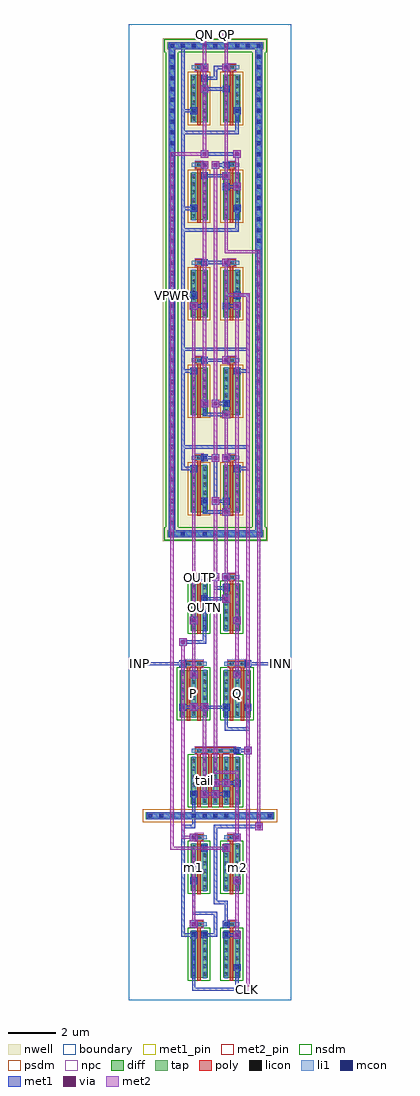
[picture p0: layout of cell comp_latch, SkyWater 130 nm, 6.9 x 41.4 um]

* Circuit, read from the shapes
.subckt comp_latch CLK INN INP OUTN OUTP P Q QN QP VGND VPWR m1 m2 tail
XM1 P INP tail VGND sky130_fd_pr__nfet_01v8 w=2 l=0.15 m=2
XM2 m1 QN VGND VGND sky130_fd_pr__nfet_01v8 w=2 l=0.15
XM3 QP OUTN m1 VGND sky130_fd_pr__nfet_01v8 w=2 l=0.15
XM4 tail CLK VGND VGND sky130_fd_pr__nfet_01v8 w=2 l=0.15 m=4
XM5 OUTN OUTP P VGND sky130_fd_pr__nfet_01v8 w=2 l=0.15
XM6 VGND QP m2 VGND sky130_fd_pr__nfet_01v8 w=2 l=0.15
XM7 m2 OUTP QN VGND sky130_fd_pr__nfet_01v8 w=2 l=0.15
XM8 Q INN tail VGND sky130_fd_pr__nfet_01v8 w=2 l=0.15 m=2
XM9 Q OUTN OUTP VGND sky130_fd_pr__nfet_01v8 w=2 l=0.15
XM10 OUTN OUTP VPWR VPWR sky130_fd_pr__pfet_01v8 w=2 l=0.15
XM11 OUTN CLK VPWR VPWR sky130_fd_pr__pfet_01v8 w=2 l=0.15
XM12 P CLK VPWR VPWR sky130_fd_pr__pfet_01v8 w=2 l=0.15
XM13 QP OUTN VPWR VPWR sky130_fd_pr__pfet_01v8 w=2 l=0.15
XM14 QP QN VPWR VPWR sky130_fd_pr__pfet_01v8 w=2 l=0.15
XM15 VPWR OUTN OUTP VPWR sky130_fd_pr__pfet_01v8 w=2 l=0.15
XM16 VPWR CLK OUTP VPWR sky130_fd_pr__pfet_01v8 w=2 l=0.15
XM17 VPWR CLK Q VPWR sky130_fd_pr__pfet_01v8 w=2 l=0.15
XM18 VPWR OUTP QN VPWR sky130_fd_pr__pfet_01v8 w=2 l=0.15
XM19 VPWR QP QN VPWR sky130_fd_pr__pfet_01v8 w=2 l=0.15
.ends

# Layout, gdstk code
import gdstk
lib = gdstk.Library(unit=1e-6, precision=1e-09)
def R(c, l, rs):  # rectangles x0, y0, x1, y1
    for r in rs: c.add(gdstk.rectangle(r[:2], r[2:], *l))
def A(c, l, x, y, w, h, nx, ny, dx, dy):  # array of equal rectangles
    R(c, l, [(x+i*dx, y+j*dy, x+i*dx+w, y+j*dy+h) for i in range(nx) for j in range(ny)])
nwell = (64, 20)
diff = (65, 20)
tap = (65, 44)
poly = (66, 20)
licon = (66, 44)
li1 = (67, 20)
mcon = (67, 44)
met1_pin = (68, 16)
met1 = (68, 20)
via = (68, 44)
met2_pin = (69, 16)
met2 = (69, 20)
nsdm = (93, 44)
psdm = (94, 20)
npc = (95, 20)
boundary = (235, 4)

comp_latch = lib.new_cell('comp_latch')
R(comp_latch, nwell, [(1.455,19.455,5.905,40.805)])
A(comp_latch, diff, 2.635, 20.68, 0.71, 2, 1, 5, 0, 4.14)
A(comp_latch, diff, 4.015, 20.68, 0.71, 2, 1, 5, 0, 4.14)
R(comp_latch, diff, [(2.635,0.945,3.345,2.945), (4.015,0.945,4.725,2.945), (2.635,4.625,3.345,6.625), (4.015,4.625,4.725,6.625), (2.635,8.305,4.725,10.305), (2.175,11.985,3.345,13.985), (4.015,11.985,5.185,13.985), (2.635,15.665,3.345,17.665), (4.015,15.665,4.725,17.665)])
R(comp_latch, tap, [(0.715,7.675,6.185,7.965), (1.635,19.635,5.725,19.925), (1.695,19.635,1.985,40.625), (5.375,19.635,5.665,40.625), (1.635,40.335,5.725,40.625)])
A(comp_latch, poly, 2.915, 8.175, 0.15, 2.405, 4, 1, 0.46, 0)
A(comp_latch, poly, 2.915, 20.55, 0.15, 2.45, 1, 5, 0, 4.14)
A(comp_latch, poly, 4.295, 20.55, 0.15, 2.45, 1, 5, 0, 4.14)
A(comp_latch, poly, 2.825, 22.865, 0.33, 0.27, 1, 5, 0, 4.14)
A(comp_latch, poly, 4.205, 22.865, 0.33, 0.27, 1, 5, 0, 4.14)
R(comp_latch, poly, [(2.915,0.815,3.065,3.22), (4.295,0.815,4.445,3.22), (2.825,3.085,3.155,3.355), (4.205,3.085,4.535,3.355), (2.915,4.495,3.065,6.9), (4.295,4.495,4.445,6.9), (2.825,6.765,3.155,7.035), (4.205,6.765,4.535,7.035), (2.825,10.445,4.535,10.715), (2.455,11.855,2.605,14.26), (2.915,11.855,3.065,14.26), (4.295,11.855,4.445,14.26), (4.755,11.855,4.905,14.26), (2.365,14.125,3.155,14.395), (4.205,14.125,4.995,14.395), (2.915,15.535,3.065,17.94), (4.295,15.535,4.445,17.94), (2.825,17.805,3.155,18.075), (4.205,17.805,4.535,18.075)])
A(comp_latch, licon, 2.675, 1.01, 0.17, 0.17, 1, 6, 0, 0.34)
A(comp_latch, licon, 3.135, 1.01, 0.17, 0.17, 1, 6, 0, 0.34)
A(comp_latch, licon, 4.055, 1.01, 0.17, 0.17, 1, 6, 0, 0.34)
A(comp_latch, licon, 4.515, 1.01, 0.17, 0.17, 1, 6, 0, 0.34)
A(comp_latch, licon, 2.675, 4.69, 0.17, 0.17, 1, 6, 0, 0.34)
A(comp_latch, licon, 3.135, 4.69, 0.17, 0.17, 1, 6, 0, 0.34)
A(comp_latch, licon, 4.055, 4.69, 0.17, 0.17, 1, 6, 0, 0.34)
A(comp_latch, licon, 4.515, 4.69, 0.17, 0.17, 1, 6, 0, 0.34)
A(comp_latch, licon, 0.835, 7.735, 0.17, 0.17, 12, 1, 0.46, 0)
A(comp_latch, licon, 2.675, 8.37, 0.17, 0.17, 5, 6, 0.46, 0.34)
A(comp_latch, licon, 2.905, 10.495, 0.17, 0.17, 4, 1, 0.46, 0)
A(comp_latch, licon, 2.215, 12.05, 0.17, 0.17, 3, 6, 0.46, 0.34)
A(comp_latch, licon, 4.055, 12.05, 0.17, 0.17, 3, 6, 0.46, 0.34)
A(comp_latch, licon, 2.675, 15.73, 0.17, 0.17, 1, 6, 0, 0.34)
A(comp_latch, licon, 3.135, 15.73, 0.17, 0.17, 1, 6, 0, 0.34)
A(comp_latch, licon, 4.055, 15.73, 0.17, 0.17, 1, 6, 0, 0.34)
A(comp_latch, licon, 4.515, 15.73, 0.17, 0.17, 1, 6, 0, 0.34)
A(comp_latch, licon, 1.755, 19.695, 0.17, 0.17, 9, 2, 0.46, 20.7)
A(comp_latch, licon, 1.755, 20.155, 0.17, 0.17, 1, 44, 0, 0.46)
A(comp_latch, licon, 5.435, 20.155, 0.17, 0.17, 1, 44, 0, 0.46)
A(comp_latch, licon, 2.675, 20.745, 0.17, 0.17, 1, 6, 0, 0.34)
A(comp_latch, licon, 3.135, 20.745, 0.17, 0.17, 1, 6, 0, 0.34)
A(comp_latch, licon, 4.055, 20.745, 0.17, 0.17, 1, 6, 0, 0.34)
A(comp_latch, licon, 4.515, 20.745, 0.17, 0.17, 1, 6, 0, 0.34)
A(comp_latch, licon, 2.905, 22.915, 0.17, 0.17, 1, 5, 0, 4.14)
A(comp_latch, licon, 4.285, 22.915, 0.17, 0.17, 1, 5, 0, 4.14)
A(comp_latch, licon, 2.675, 24.885, 0.17, 0.17, 1, 6, 0, 0.34)
A(comp_latch, licon, 3.135, 24.885, 0.17, 0.17, 1, 6, 0, 0.34)
A(comp_latch, licon, 4.055, 24.885, 0.17, 0.17, 1, 6, 0, 0.34)
A(comp_latch, licon, 4.515, 24.885, 0.17, 0.17, 1, 6, 0, 0.34)
A(comp_latch, licon, 2.675, 29.025, 0.17, 0.17, 1, 6, 0, 0.34)
A(comp_latch, licon, 3.135, 29.025, 0.17, 0.17, 1, 6, 0, 0.34)
A(comp_latch, licon, 4.055, 29.025, 0.17, 0.17, 1, 6, 0, 0.34)
A(comp_latch, licon, 4.515, 29.025, 0.17, 0.17, 1, 6, 0, 0.34)
A(comp_latch, licon, 2.675, 33.165, 0.17, 0.17, 1, 6, 0, 0.34)
A(comp_latch, licon, 3.135, 33.165, 0.17, 0.17, 1, 6, 0, 0.34)
A(comp_latch, licon, 4.055, 33.165, 0.17, 0.17, 1, 6, 0, 0.34)
A(comp_latch, licon, 4.515, 33.165, 0.17, 0.17, 1, 6, 0, 0.34)
A(comp_latch, licon, 2.675, 37.305, 0.17, 0.17, 1, 6, 0, 0.34)
A(comp_latch, licon, 3.135, 37.305, 0.17, 0.17, 1, 6, 0, 0.34)
A(comp_latch, licon, 4.055, 37.305, 0.17, 0.17, 1, 6, 0, 0.34)
A(comp_latch, licon, 4.515, 37.305, 0.17, 0.17, 1, 6, 0, 0.34)
R(comp_latch, licon, [(2.905,3.135,3.075,3.305), (4.285,3.135,4.455,3.305), (2.905,6.815,3.075,6.985), (4.285,6.815,4.455,6.985), (2.445,14.175,2.615,14.345), (2.905,14.175,3.075,14.345), (4.285,14.175,4.455,14.345), (4.745,14.175,4.915,14.345), (2.905,17.855,3.075,18.025), (4.285,17.855,4.455,18.025)])
A(comp_latch, li1, 2.675, 8.29, 0.17, 2.03, 5, 1, 0.46, 0)
A(comp_latch, li1, 2.215, 11.97, 0.17, 2.03, 3, 1, 0.46, 0)
A(comp_latch, li1, 4.055, 11.97, 0.17, 2.03, 3, 1, 0.46, 0)
A(comp_latch, li1, 2.675, 20.665, 0.17, 2.03, 1, 5, 0, 4.14)
A(comp_latch, li1, 3.135, 20.665, 0.17, 2.03, 1, 5, 0, 4.14)
A(comp_latch, li1, 4.055, 20.665, 0.17, 2.03, 1, 5, 0, 4.14)
A(comp_latch, li1, 4.515, 20.665, 0.17, 2.03, 1, 5, 0, 4.14)
A(comp_latch, li1, 2.675, 22.915, 0.63, 0.17, 1, 5, 0, 4.14)
A(comp_latch, li1, 4.055, 22.915, 0.63, 0.17, 1, 5, 0, 4.14)
R(comp_latch, li1, [(2.675,0.93,2.845,2.96), (3.135,0.93,3.305,2.96), (4.055,0.93,4.225,2.96), (4.515,0.93,4.685,2.96), (2.675,3.135,3.305,3.305), (4.055,3.135,4.685,3.305), (2.675,4.61,2.845,6.64), (3.135,4.61,3.305,6.64), (4.055,4.61,4.225,6.64), (4.515,4.61,4.685,6.64), (2.675,6.815,3.305,6.985), (4.055,6.815,4.685,6.985), (0.755,7.735,6.145,7.905), (2.675,10.495,4.685,10.665), (2.215,14.175,3.305,14.345), (4.055,14.175,5.145,14.345), (2.675,15.65,2.845,17.68), (3.135,15.65,3.305,17.68), (4.055,15.65,4.225,17.68), (4.515,15.65,4.685,17.68), (2.675,17.855,3.305,18.025), (4.055,17.855,4.685,18.025), (1.675,19.695,5.685,19.865), (1.755,19.695,1.925,40.565), (5.435,19.695,5.605,40.565), (1.675,40.395,5.685,40.565)])
A(comp_latch, mcon, 2.675, 3.135, 0.17, 0.17, 1, 4, 0, 1.84)
A(comp_latch, mcon, 0.835, 7.735, 0.17, 0.17, 12, 1, 0.46, 0)
A(comp_latch, mcon, 2.215, 12.335, 0.17, 0.17, 4, 1, 0.92, 0)
A(comp_latch, mcon, 1.755, 19.695, 0.17, 0.17, 9, 2, 0.46, 20.7)
A(comp_latch, mcon, 1.755, 20.155, 0.17, 0.17, 1, 44, 0, 0.46)
A(comp_latch, mcon, 5.435, 20.155, 0.17, 0.17, 1, 44, 0, 0.46)
R(comp_latch, mcon, [(4.515,1.295,4.685,1.465), (2.675,2.675,2.845,2.845), (3.135,2.675,3.305,2.845), (4.055,2.675,4.225,2.845), (4.055,3.135,4.225,3.305), (4.515,4.975,4.685,5.145), (3.135,6.355,3.305,6.525), (4.055,6.355,4.225,6.525), (4.515,6.815,4.685,6.985), (3.135,8.655,3.305,8.825), (4.055,8.655,4.225,8.825), (3.595,9.115,3.765,9.285), (4.515,9.115,4.685,9.285), (4.515,10.495,4.685,10.665), (2.675,13.715,2.845,13.885), (4.515,13.715,4.685,13.885), (2.215,14.175,2.385,14.345), (4.975,14.175,5.145,14.345), (2.675,16.015,2.845,16.185), (4.515,16.015,4.685,16.185), (3.135,16.935,3.305,17.105), (4.055,17.395,4.225,17.565), (3.135,17.855,3.305,18.025), (4.055,17.855,4.225,18.025), (3.135,21.075,3.305,21.245), (4.055,21.075,4.225,21.245), (2.675,22.455,2.845,22.625), (4.515,22.455,4.685,22.625), (3.135,22.915,3.305,23.085), (4.055,22.915,4.225,23.085), (3.135,25.215,3.305,25.385), (4.055,25.215,4.225,25.385), (2.675,26.595,2.845,26.765), (4.515,26.595,4.685,26.765), (3.135,27.055,3.305,27.225), (4.055,27.055,4.225,27.225), (3.135,29.355,3.305,29.525), (4.055,29.355,4.225,29.525), (2.675,29.815,2.845,29.985), (4.515,29.815,4.685,29.985), (3.135,31.195,3.305,31.365), (4.055,31.195,4.225,31.365), (2.675,33.495,2.845,33.665), (4.515,33.495,4.685,33.665), (4.055,34.415,4.225,34.585), (3.135,34.875,3.305,35.045), (3.135,35.335,3.305,35.505), (4.055,35.335,4.225,35.505), (2.675,37.635,2.845,37.805), (4.515,37.635,4.685,37.805), (4.055,38.555,4.225,38.725), (3.135,39.015,3.305,39.185), (3.135,39.475,3.305,39.645), (4.055,39.475,4.225,39.645)])
R(comp_latch, met1_pin, [(2.23,2.69,2.37,7.43), (1.77,29.83,1.91,29.97)])
A(comp_latch, met1, 2.23, 2.69, 0.6, 0.14, 3, 1, 0.92, 0)
A(comp_latch, met1, 2.615, 3.075, 0.29, 0.29, 1, 4, 0, 1.84)
A(comp_latch, met1, 2.155, 12.275, 0.29, 0.29, 4, 1, 0.92, 0)
A(comp_latch, met1, 3.15, 31.21, 1.06, 0.14, 1, 3, 0, 3.68)
R(comp_latch, met1, [(2.69,0.39,2.83,2.83), (2.69,0.39,4.67,0.53), (4.53,0.39,4.67,1.45), (4.455,1.235,4.745,1.525), (4.44,2.6,4.76,2.92), (2.615,2.615,2.905,2.905), (3.075,2.615,3.365,2.905), (3.995,2.615,4.285,2.905), (2.23,2.69,2.37,7.43), (3.61,2.69,3.75,3.75), (2.6,3.06,2.92,3.38), (3.995,3.075,4.285,3.365), (4.07,3.15,4.21,4.21), (2.69,3.61,3.75,3.75), (2.69,3.61,2.83,5.13), (3.61,4.07,4.21,4.21), (3.61,4.07,3.75,6.51), (4.44,4.9,4.76,5.22), (4.455,4.915,4.745,5.205), (3.98,6.28,4.3,6.6), (3.075,6.295,3.365,6.585), (3.995,6.295,4.285,6.585), (3.15,6.37,3.75,6.51), (3.61,6.37,3.75,7.43), (2.6,6.74,2.92,7.06), (4.44,6.74,4.76,7.06), (4.455,6.755,4.745,7.045), (5.36,7.2,5.68,7.52), (2.23,7.29,2.83,7.43), (2.69,7.29,2.83,7.89), (3.61,7.29,5.59,7.43), (0.775,7.675,6.125,7.965), (2.69,7.75,2.83,8.81), (2.69,7.75,4.67,7.89), (4.53,7.75,4.67,7.89), (4.53,7.75,4.67,9.27), (3.06,8.58,3.38,8.9), (3.52,8.58,3.84,8.9), (3.075,8.595,3.365,8.885), (3.995,8.595,4.285,8.885), (3.61,8.67,4.21,8.81), (3.52,9.04,3.84,9.36), (3.98,9.04,4.3,9.36), (3.535,9.055,3.825,9.345), (4.455,9.055,4.745,9.345), (4.07,9.13,4.67,9.27), (4.9,10.42,5.22,10.74), (4.455,10.435,4.745,10.725), (4.53,10.51,5.13,10.65), (4.07,11.43,5.13,11.57), (4.07,11.43,4.21,12.49), (4.99,11.43,5.13,12.49), (2.6,12.26,2.92,12.58), (3.06,12.26,3.38,12.58), (2.23,12.35,2.83,12.49), (3.15,12.35,4.21,12.49), (2.6,13.64,2.92,13.96), (4.44,13.64,4.76,13.96), (2.615,13.655,2.905,13.945), (4.455,13.655,4.745,13.945), (0.3,14.1,0.62,14.42), (6.28,14.1,6.6,14.42), (2.155,14.115,2.445,14.405), (4.915,14.115,5.205,14.405), (0.39,14.19,2.37,14.33), (4.99,14.19,6.51,14.33), (2.14,15.02,2.46,15.34), (2.23,15.11,3.29,15.25), (3.15,15.11,3.29,17.09), (2.6,15.94,2.92,16.26), (4.44,15.94,4.76,16.26), (2.615,15.955,2.905,16.245), (4.455,15.955,4.745,16.245), (3.98,16.86,4.3,17.18), (3.075,16.875,3.365,17.165), (3.15,16.95,4.21,17.09), (3.995,17.335,4.285,17.625), (3.61,17.41,4.21,17.55), (3.61,17.41,3.75,18.01), (3.52,17.78,3.84,18.1), (3.98,17.78,4.3,18.1), (3.075,17.795,3.365,18.085), (3.995,17.795,4.285,18.085), (3.15,17.87,3.75,18.01), (1.695,19.635,1.985,40.625), (1.695,19.635,5.665,19.925), (5.375,19.635,5.665,40.625), (3.98,20.54,4.3,20.86), (3.15,20.63,4.21,20.77), (3.15,20.63,3.29,21.23), (3.52,21,3.84,21.32), (3.075,21.015,3.365,21.305), (3.995,21.015,4.285,21.305), (3.61,21.09,4.21,21.23), (3.61,21.09,3.75,23.07), (2.615,22.395,2.905,22.685), (4.455,22.395,4.745,22.685), (2.23,22.47,2.83,22.61), (2.23,22.47,2.37,26.75), (4.53,22.47,5.13,22.61), (4.99,22.47,5.13,23.53), (3.52,22.84,3.84,23.16), (3.98,22.84,4.3,23.16), (3.075,22.855,3.365,23.145), (3.995,22.855,4.285,23.145), (3.15,22.93,3.75,23.07), (2.23,23.39,5.13,23.53), (3.98,24.68,4.3,25), (3.15,24.77,4.21,24.91), (3.15,24.77,3.29,25.37), (3.06,25.14,3.38,25.46), (3.52,25.14,3.84,25.46), (3.075,25.155,3.365,25.445), (3.995,25.155,4.285,25.445), (3.61,25.23,4.21,25.37), (2.615,26.535,2.905,26.825), (4.455,26.535,4.745,26.825), (2.23,26.61,2.83,26.75), (2.23,26.61,2.37,29.97), (4.53,26.61,5.13,26.75), (4.99,26.61,5.13,27.67), (3.98,26.98,4.3,27.3), (3.075,26.995,3.365,27.285), (3.995,26.995,4.285,27.285), (3.15,27.07,4.21,27.21), (2.23,27.53,5.13,27.67), (4.99,27.53,5.13,29.97), (2.6,29.28,2.92,29.6), (4.44,29.28,4.76,29.6), (3.075,29.295,3.365,29.585), (3.995,29.295,4.285,29.585), (2.69,29.37,3.29,29.51), (4.07,29.37,4.67,29.51), (2.615,29.755,2.905,30.045), (4.455,29.755,4.745,30.045), (1.77,29.83,1.91,29.97), (1.77,29.83,2.83,29.97), (2.23,29.83,2.37,33.65), (4.53,29.83,5.13,29.97), (3.98,31.12,4.3,31.44), (3.075,31.135,3.365,31.425), (3.995,31.135,4.285,31.425), (2.23,32.59,4.67,32.73), (4.53,32.59,4.67,33.65), (2.615,33.435,2.905,33.725), (4.455,33.435,4.745,33.725), (2.23,33.51,2.83,33.65), (2.23,33.51,2.37,37.79), (4.44,34.34,4.76,34.66), (3.995,34.355,4.285,34.645), (4.07,34.43,4.67,34.57), (3.98,34.8,4.3,35.12), (3.075,34.815,3.365,35.105), (3.06,35.26,3.38,35.58), (3.52,35.26,3.84,35.58), (3.075,35.275,3.365,35.565), (3.995,35.275,4.285,35.565), (3.61,35.35,4.21,35.49), (3.06,35.72,3.38,36.04), (4.44,35.72,4.76,36.04), (3.15,35.81,4.67,35.95), (2.23,36.73,4.67,36.87), (4.53,36.73,4.67,37.79), (2.615,37.575,2.905,37.865), (4.455,37.575,4.745,37.865), (2.23,37.65,2.83,37.79), (2.23,37.65,2.37,40.55), (3.06,38.48,3.38,38.8), (3.995,38.495,4.285,38.785), (3.075,38.955,3.365,39.245), (3.15,39.03,3.75,39.17), (3.61,39.03,3.75,39.63), (3.06,39.4,3.38,39.72), (3.98,39.4,4.3,39.72), (3.075,39.415,3.365,39.705), (3.995,39.415,4.285,39.705), (3.61,39.49,4.21,39.63), (1.695,40.335,5.665,40.625), (2.23,40.41,2.37,40.55)])
R(comp_latch, via, [(4.525,2.685,4.675,2.835), (2.685,3.145,2.835,3.295), (4.525,4.985,4.675,5.135), (4.065,6.365,4.215,6.515), (2.685,6.825,2.835,6.975), (4.525,6.825,4.675,6.975), (5.445,7.285,5.595,7.435), (3.145,8.665,3.295,8.815), (3.605,8.665,3.755,8.815), (3.605,9.125,3.755,9.275), (4.065,9.125,4.215,9.275), (4.985,10.505,5.135,10.655), (2.685,12.345,2.835,12.495), (3.145,12.345,3.295,12.495), (2.685,13.725,2.835,13.875), (4.525,13.725,4.675,13.875), (0.385,14.185,0.535,14.335), (6.365,14.185,6.515,14.335), (2.225,15.105,2.375,15.255), (2.685,16.025,2.835,16.175), (4.525,16.025,4.675,16.175), (4.065,16.945,4.215,17.095), (3.605,17.865,3.755,18.015), (4.065,17.865,4.215,18.015), (4.065,20.625,4.215,20.775), (3.605,21.085,3.755,21.235), (3.605,22.925,3.755,23.075), (4.065,22.925,4.215,23.075), (4.065,24.765,4.215,24.915), (3.145,25.225,3.295,25.375), (3.605,25.225,3.755,25.375), (4.065,27.065,4.215,27.215), (2.685,29.365,2.835,29.515), (4.525,29.365,4.675,29.515), (4.065,31.205,4.215,31.355), (4.525,34.425,4.675,34.575), (4.065,34.885,4.215,35.035), (3.145,35.345,3.295,35.495), (3.605,35.345,3.755,35.495), (3.145,35.805,3.295,35.955), (4.525,35.805,4.675,35.955), (3.145,38.565,3.295,38.715), (3.145,39.485,3.295,39.635), (4.065,39.485,4.215,39.635)])
R(comp_latch, met2_pin, [(4.91,0.31,5.21,0.61), (0.31,14.11,0.61,14.41), (6.29,14.11,6.59,14.41), (3.07,40.79,3.37,41.09), (3.99,40.79,4.29,41.09)])
R(comp_latch, met2, [(4.91,0.31,5.21,0.61), (4.99,0.39,5.13,10.65), (4.99,0.39,5.13,0.53), (4.44,2.6,4.76,2.92), (4.53,2.69,4.67,5.13), (2.6,3.06,2.92,3.38), (2.69,3.15,2.83,6.51), (4.44,4.9,4.76,5.22), (3.98,6.28,4.3,6.6), (1.77,6.37,1.91,35.95), (1.77,6.37,4.21,6.51), (2.6,6.74,2.92,7.06), (4.44,6.74,4.76,7.06), (2.23,6.83,2.83,6.97), (2.23,6.83,2.37,15.25), (4.53,6.83,4.67,9.73), (5.36,7.2,5.68,7.52), (5.45,7.29,5.59,31.81), (3.06,8.58,3.38,8.9), (3.52,8.58,3.84,8.9), (3.15,8.67,3.75,8.81), (3.15,8.67,3.29,12.49), (3.52,9.04,3.84,9.36), (3.98,9.04,4.3,9.36), (3.61,9.13,4.21,9.27), (3.61,9.59,3.75,18.01), (3.61,9.59,4.67,9.73), (4.9,10.42,5.22,10.74), (4.99,10.51,5.13,29.97), (2.6,12.26,2.92,12.58), (3.06,12.26,3.38,12.58), (2.69,12.35,3.29,12.49), (2.6,13.64,2.92,13.96), (4.44,13.64,4.76,13.96), (2.69,13.73,2.83,16.17), (4.53,13.73,4.67,16.17), (0.3,14.1,0.62,14.42), (6.28,14.1,6.6,14.42), (0.31,14.11,0.61,14.41), (6.29,14.11,6.59,14.41), (0.39,14.19,0.53,14.33), (6.37,14.19,6.51,14.33), (2.14,15.02,2.46,15.34), (2.6,15.94,2.92,16.26), (4.44,15.94,4.76,16.26), (2.69,16.03,2.83,29.51), (4.53,16.03,4.67,29.51), (3.98,16.86,4.3,17.18), (4.07,16.95,4.21,18.01), (3.52,17.78,3.84,18.1), (3.98,17.78,4.3,18.1), (3.61,17.87,3.75,21.23), (4.07,17.87,4.21,20.77), (3.98,20.54,4.3,20.86), (4.07,20.63,4.21,23.07), (3.52,21,3.84,21.32), (3.52,22.84,3.84,23.16), (3.98,22.84,4.3,23.16), (3.61,22.93,3.75,25.37), (4.07,22.93,4.21,24.91), (3.98,24.68,4.3,25), (3.06,25.14,3.38,25.46), (3.52,25.14,3.84,25.46), (3.15,25.23,3.29,35.49), (3.61,25.23,3.75,35.49), (3.98,26.98,4.3,27.3), (4.07,27.07,4.21,31.35), (2.6,29.28,2.92,29.6), (4.44,29.28,4.76,29.6), (4.07,29.83,5.13,29.97), (3.98,31.12,4.3,31.44), (4.07,31.67,4.21,35.03), (4.07,31.67,5.59,31.81), (4.44,34.34,4.76,34.66), (4.53,34.43,4.67,35.95), (3.98,34.8,4.3,35.12), (4.07,34.89,4.21,39.63), (3.06,35.26,3.38,35.58), (3.52,35.26,3.84,35.58), (3.06,35.72,3.38,36.04), (4.44,35.72,4.76,36.04), (1.77,35.81,3.29,35.95), (3.15,35.81,3.29,38.71), (3.06,38.48,3.38,38.8), (3.15,38.57,3.29,39.63), (3.06,39.4,3.38,39.72), (3.98,39.4,4.3,39.72), (3.15,39.49,3.29,41.01), (4.07,39.49,4.21,41.01), (3.07,40.79,3.37,41.09), (3.99,40.79,4.29,41.09), (3.15,40.87,3.29,41.01), (4.07,40.87,4.21,41.01)])
R(comp_latch, nsdm, [(2.51,0.82,3.47,3.07), (3.89,0.82,4.85,3.07), (2.51,4.5,3.47,6.75), (3.89,4.5,4.85,6.75), (2.51,8.18,4.85,10.43), (2.05,11.86,3.47,14.11), (3.89,11.86,5.31,14.11), (2.51,15.54,3.47,17.79), (3.89,15.54,4.85,17.79), (1.51,19.51,5.85,20.05), (1.57,20.05,2.11,40.21), (5.25,20.05,5.79,40.21), (1.51,40.21,5.85,40.75)])
A(comp_latch, psdm, 2.51, 20.555, 0.96, 2.25, 1, 5, 0, 4.14)
A(comp_latch, psdm, 3.89, 20.555, 0.96, 2.25, 1, 5, 0, 4.14)
R(comp_latch, psdm, [(0.59,7.55,6.31,8.09)])
A(comp_latch, npc, 2.805, 22.815, 0.37, 0.37, 1, 5, 0, 4.14)
A(comp_latch, npc, 4.185, 22.815, 0.37, 0.37, 1, 5, 0, 4.14)
R(comp_latch, npc, [(2.805,3.035,3.175,3.405), (4.185,3.035,4.555,3.405), (2.805,6.715,3.175,7.085), (4.185,6.715,4.555,7.085), (2.805,10.395,4.555,10.765), (2.345,14.075,3.175,14.445), (4.185,14.075,5.015,14.445), (2.805,17.755,3.175,18.125), (4.185,17.755,4.555,18.125)])
R(comp_latch, boundary, [(0,0,6.9,41.4)])
comp_latch.add(gdstk.Label('tail', (3.22,9.305), layer=67, texttype=5))
comp_latch.add(gdstk.Label('P', (2.76,12.985), layer=67, texttype=5))
comp_latch.add(gdstk.Label('Q', (4.6,12.985), layer=67, texttype=5))
comp_latch.add(gdstk.Label('OUTP', (2.99,17.94), layer=67, texttype=5))
comp_latch.add(gdstk.Label('OUTN', (3.22,16.665), layer=67, texttype=5))
comp_latch.add(gdstk.Label('m1', (2.76,5.625), layer=67, texttype=5))
comp_latch.add(gdstk.Label('m2', (4.6,5.625), layer=67, texttype=5))
comp_latch.add(gdstk.Label('VPWR', (1.84,29.9), layer=68, texttype=5))
comp_latch.add(gdstk.Label('VGND', (2.3,5.06), layer=68, texttype=5))
comp_latch.add(gdstk.Label('CLK', (5.06,0.46), layer=69, texttype=5))
comp_latch.add(gdstk.Label('INP', (0.46,14.26), layer=69, texttype=5))
comp_latch.add(gdstk.Label('INN', (6.44,14.26), layer=69, texttype=5))
comp_latch.add(gdstk.Label('QP', (4.14,40.94), layer=69, texttype=5))
comp_latch.add(gdstk.Label('QN', (3.22,40.94), layer=69, texttype=5))
comp_latch.add(gdstk.Label('VPWR', (1.84,29.9), layer=68, texttype=16))
comp_latch.add(gdstk.Label('VGND', (2.3,5.06), layer=68, texttype=16))
comp_latch.add(gdstk.Label('CLK', (5.06,0.46), layer=69, texttype=16))
comp_latch.add(gdstk.Label('INP', (0.46,14.26), layer=69, texttype=16))
comp_latch.add(gdstk.Label('INN', (6.44,14.26), layer=69, texttype=16))
comp_latch.add(gdstk.Label('QP', (4.14,40.94), layer=69, texttype=16))
comp_latch.add(gdstk.Label('QN', (3.22,40.94), layer=69, texttype=16))

lib.write_gds('comp_latch.gds')
